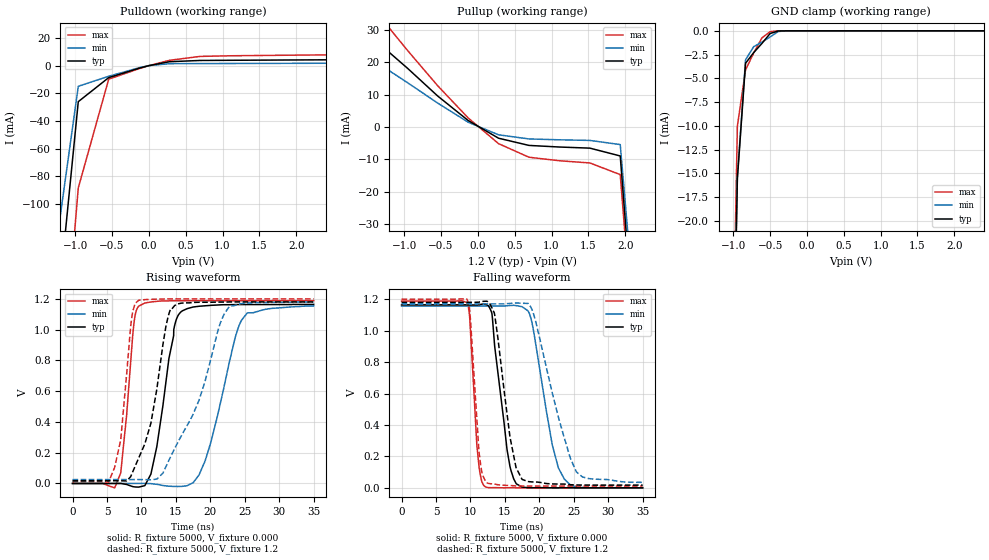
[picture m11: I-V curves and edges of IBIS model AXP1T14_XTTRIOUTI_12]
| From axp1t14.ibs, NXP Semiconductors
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|   Model AXP1T14_XTTRIOUTI_12
[Model]   AXP1T14_XTTRIOUTI_12
Model_type   Output
Polarity   Inverting
Vmeas =  0.6V
Cref  =  5e-12
Rref  =  10e+3
Vref  =  0V
C_comp   1.9120pF   1.7230pF   2.0800pF
[Model Spec]
| Note: The input and output voltage ratings may be exceeded if the input and
|   output current ratings are observed (please refer to the data sheet)
|   Subparameter   typ   min   max
| Timing Thresholds
Vmeas   0.6   0.6   0.6
|Ambient temperature:   25   85   -40
[Temperature Range]   30   90   -35
[Voltage Range]   1.2   1.2   1.2
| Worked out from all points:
|   slope of the pulldown table from 0 to 0.18 V, typ, clamps not added: 98.9 ohm
|   slope of the pullup table from 0 to 0.18 V, typ, clamps not added: 75.5 ohm
|   GND clamp passes 1 mA (typ) near -0.58 V on its own axis
|   rising waveform, R_fixture 5000, V_fixture 0.000: 20-80 % time 2.34ns typ, 3.65ns min, 1.33ns max; typ from 0 V to 1.16 V
|   rising waveform, R_fixture 5000, V_fixture 1.2: 20-80 % time 2.86ns typ, 5.68ns min, 1.5ns max; typ from 0.018 V to 1.18 V
|   falling waveform, R_fixture 5000, V_fixture 0.000: 20-80 % time 1.89ns typ, 2.69ns min, 943ps max; typ from 1.16 V to 0 V
|   falling waveform, R_fixture 5000, V_fixture 1.2: 20-80 % time 2.07ns typ, 3.91ns min, 1.05ns max; typ from 1.18 V to 0.018 V
|Process Range   nominal   slow   fast
[GND_clamp]
|   voltage   I(typ)   I(min)   I(max)
-5.5V     -2.957A    -2.756A    -3.17A
-1.056V   -61.76mA   -55.78mA   -55.53mA
-944.4mV  -15.58mA   -15.38mA   -10.03mA
-833.3mV  -3.412mA   -3.047mA   -4.112mA
-722.2mV  -2.287mA   -1.662mA   -2.321mA
-611.1mV  -1.33mA    -1.186mA   -742.4uA
-500mV    -281.9uA   -644uA     -90.52uA
-388.9mV  -19.05uA   -70.75uA   -2.215uA
-277.8mV  -361.8nA   -2.29uA    -18.1nA
11V       0A         0A         0A
[Pulldown]
|   voltage   I(typ)   I(min)   I(max)
-5.5V     -2.957A    -2.718A    -3.249A
-1.371V   -248mA     -173mA     -350mA
-958mV    -26mA      -14.9mA    -88.3mA
-545mV    -8.64mA    -7.67mA    -9.76mA
0V        -4.99pA    -19.5pA    -512pA
281mV     2.84mA     1.42mA     3.85mA
694mV     3.74mA     1.5mA      6.67mA
4.823V    4.94mA     2.15mA     8.95mA
6.887V    6.79mA     3.22mA     11.6mA
8.539V    9.76mA     4.93mA     16mA
9.778V    12.8mA     6.71mA     20.6mA
11V       16.5mA     8.85mA     26.1mA
[Pullup]
|   voltage   I(typ)   I(min)   I(max)
-5.5V     115mA      91.34mA    148.4mA
-2.197V   43.3mA     33.01mA    57.35mA
-1.784V   34.71mA    26.33mA    46.17mA
-1.371V   26.33mA    19.87mA    35.22mA
-958mV    18.19mA    13.73mA    23.71mA
-132.1mV  2.026mA    1.497mA    2.817mA
280.8mV   -3.441mA   -2.393mA   -5.114mA
693.7mV   -5.66mA    -3.662mA   -9.308mA
1.52V     -6.497mA   -4.119mA   -11.07mA
1.932V    -8.911mA   -5.396mA   -14.66mA
2.345V    -129mA     -114.3mA   -132.5mA
11V       -6.245A    -5.811A    -6.728A
[Ramp]
| variable   typ   min   max
dV/dt_r  7.2750E-01/2.2500E-09  7.2020E-01/3.7810E-09  7.3490E-01/1.3130E-09
dV/dt_f  7.2750E-01/1.6730E-09  7.2020E-01/2.7510E-09  7.3490E-01/9.4060E-10
R_load = 5000
[Rising Waveform]
R_fixture   = 5000
V_fixture   = 0.000
V_fixture_min = 0.000
V_fixture_max = 0.000
| time   V(typ)   V(min)   V(max)
0s        6.101nV    13.61nV    4nV
7ns       357.8uV    -1.505uV   68.41mV
8.9ns     -21.5mV    52.51uV    1.033V
9.62ns    -23.55mV   256.3uV    1.153V
11.38ns   60.68mV    -1.123mV   1.18V
14.7ns    1.001V     -19.3mV    1.188V
15.66ns   1.112V     -19.25mV   1.188V
19.26ns   1.155V     147.9mV    1.188V
24.5ns    1.163V     1.059V     1.188V
35ns      1.164V     1.154V     1.188V
[Rising Waveform]
R_fixture   = 5000
V_fixture   = 1.2
V_fixture_min = 1.2
V_fixture_max = 1.2
| time   V(typ)   V(min)   V(max)
0s        17.5mV     25.55mV    11.58mV
6.12ns    17.65mV    25.55mV    104.5mV
7ns       17.35mV    25.55mV    283mV
8.66ns    66.82mV    25.57mV    1.096V
9.62ns    166.5mV    25.61mV    1.191V
11.38ns   391.8mV    23.95mV    1.197V
13.56ns   1.021V     108.9mV    1.199V
14.82ns   1.156V     226.1mV    1.2V
22.76ns   1.18V      1.15V      1.2V
35ns      1.18V      1.179V     1.2V
[Falling Waveform]
R_fixture   = 5000
V_fixture   = 0.000
V_fixture_min = 0.000
V_fixture_max = 0.000
| time   V(typ)   V(min)   V(max)
0s        1.164V     1.157V     1.188V
9.52ns    1.164V     1.157V     1.178V
10.94ns   1.163V     1.157V     266.6mV
11.94ns   1.169V     1.157V     14.44mV
13.12ns   1.109V     1.157V     1.113mV
15.32ns   241.6mV    1.158V     728.6uV
16.68ns   25.13mV    1.159V     217.7uV
18.82ns   775.8uV    1.072V     9.035uV
23.62ns   867.6uV    56.4mV     15.28nV
35ns      18.88nV    221.2uV    4.239nV
[Falling Waveform]
R_fixture   = 5000
V_fixture   = 1.2
V_fixture_min = 1.2
V_fixture_max = 1.2
| time   V(typ)   V(min)   V(max)
0s        1.18V      1.17V      1.2V
9.54ns    1.18V      1.17V      1.194V
11.24ns   1.181V     1.17V      230.6mV
12.24ns   1.187V     1.17V      36.03mV
13.46ns   1.114V     1.17V      24.82mV
15.74ns   323.2mV    1.173V     15.02mV
17.5ns    53.61mV    1.174V     11.76mV
19.12ns   37.47mV    1.112V     11.6mV
25.38ns   18.34mV    101.4mV    11.58mV
35ns      17.5mV     35.04mV    11.58mV
